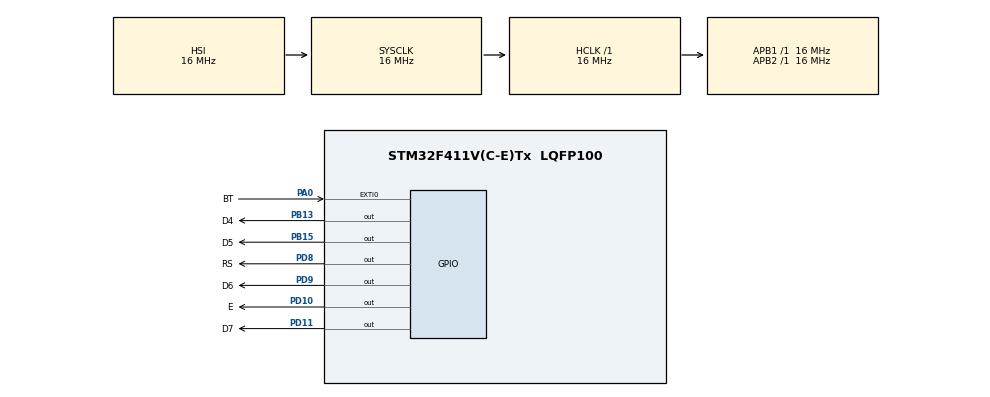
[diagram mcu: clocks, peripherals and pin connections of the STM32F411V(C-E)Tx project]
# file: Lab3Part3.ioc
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Mcu.Family=STM32F4
Mcu.Name=STM32F411V(C-E)Tx
Mcu.Package=LQFP100
NVIC.EXTI0_IRQn=true\:0\:0\:false\:false\:true\:true\:true\:true
NVIC.PriorityGroup=NVIC_PRIORITYGROUP_4
PA0-WKUP.GPIO_Label=BT
PA0-WKUP.Signal=GPXTI0
PB13.GPIO_Label=D4
PB13.Signal=GPIO_Output
PB15.GPIO_Label=D5
PB15.Signal=GPIO_Output
PD10.GPIO_Label=E
PD10.Signal=GPIO_Output
PD11.GPIO_Label=D7
PD11.Signal=GPIO_Output
PD8.GPIO_Label=RS
PD8.Signal=GPIO_Output
PD9.GPIO_Label=D6
PD9.Signal=GPIO_Output
ProjectManager.HeapSize=0x200
ProjectManager.StackSize=0x400
ProjectManager.TargetToolchain=STM32CubeIDE
RCC.AHBFreq_Value=16000000
RCC.APB1Freq_Value=16000000
RCC.APB2Freq_Value=16000000
RCC.CortexFreq_Value=16000000
RCC.HSE_VALUE=25000000
RCC.HSI_VALUE=16000000
RCC.LSE_VALUE=32768
RCC.SYSCLKFreq_VALUE=16000000
RCC.VCOOutputFreq_Value=192000000
board=custom

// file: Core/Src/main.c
/* USER CODE BEGIN Header */
/**
  ******************************************************************************
  * @file           : main.c
  * @brief          : Main program body
  ******************************************************************************
  * @attention
  *
  * Copyright (c) 2026 STMicroelectronics.
  * All rights reserved.
  *
  * This software is licensed under terms that can be found in the LICENSE file
  * in the root directory of this software component.
  * If no LICENSE file comes with this software, it is provided AS-IS.
  *
  ******************************************************************************
  */
/* USER CODE END Header */

#include "main.h"

/* USER CODE BEGIN Includes */
#include <stdio.h>
#include <stdlib.h>
/* USER CODE END Includes */

/* USER CODE BEGIN PV */

int current = 21;
int player_move = 0;
int ai_move = 0;
int ai_turn = 0;

char str[17];

/* USER CODE END PV */

void SystemClock_Config(void);
static void MX_GPIO_Init(void);

/* USER CODE BEGIN 0 */

void LCD_SendNibble(uint8_t nibble, uint8_t rs)
{
    HAL_GPIO_WritePin(
        RS_GPIO_Port,
        RS_Pin,
        rs ? GPIO_PIN_SET : GPIO_PIN_RESET
    );

    HAL_GPIO_WritePin(
        D4_GPIO_Port,
        D4_Pin,
        (nibble & 0x01) ? GPIO_PIN_SET : GPIO_PIN_RESET
    );

    HAL_GPIO_WritePin(
        D5_GPIO_Port,
        D5_Pin,
        (nibble & 0x02) ? GPIO_PIN_SET : GPIO_PIN_RESET
    );

    HAL_GPIO_WritePin(
        D6_GPIO_Port,
        D6_Pin,
        (nibble & 0x04) ? GPIO_PIN_SET : GPIO_PIN_RESET
    );

    HAL_GPIO_WritePin(
        D7_GPIO_Port,
        D7_Pin,
        (nibble & 0x08) ? GPIO_PIN_SET : GPIO_PIN_RESET
    );

    HAL_GPIO_WritePin(E_GPIO_Port, E_Pin, GPIO_PIN_SET);
    HAL_Delay(1);

    HAL_GPIO_WritePin(E_GPIO_Port, E_Pin, GPIO_PIN_RESET);
    HAL_Delay(1);
}

void LCD_SendByte(uint8_t byte, uint8_t rs)
{
    LCD_SendNibble(byte >> 4, rs);
    LCD_SendNibble(byte & 0x0F, rs);
}

void LCD_Init(void)
{
    HAL_Delay(50);

    LCD_SendNibble(0x03, 0);
    HAL_Delay(5);

    LCD_SendNibble(0x03, 0);
    HAL_Delay(1);

    LCD_SendNibble(0x03, 0);
    HAL_Delay(1);

    LCD_SendNibble(0x02, 0);
    HAL_Delay(1);

    LCD_SendByte(0x28, 0);
    HAL_Delay(1);

    LCD_SendByte(0x08, 0);
    HAL_Delay(1);

    LCD_SendByte(0x01, 0);
    HAL_Delay(2);

    LCD_SendByte(0x06, 0);
    HAL_Delay(1);

    LCD_SendByte(0x0C, 0);
    HAL_Delay(1);
}

void LCD_Clear(void)
{
    LCD_SendByte(0x01, 0);
    HAL_Delay(2);
}

void LCD_SetCursor(uint8_t row, uint8_t column)
{
    uint8_t address;

    if (row == 0)
    {
        address = column;
    }
    else
    {
        address = 0x40 + column;
    }

    LCD_SendByte(0x80 | address, 0);
}

void LCD_DisplayString(char *str)
{
    while (*str)
    {
        LCD_SendByte((uint8_t)(*str), 1);
        str++;
    }
}

void DisplayPlayerTurn(void)
{
    LCD_Clear();

    snprintf(
        str,
        sizeof(str),
        "%d Your Turn",
        current
    );

    LCD_SetCursor(0, 0);
    LCD_DisplayString(str);

    LCD_SetCursor(1, 0);
    LCD_DisplayString("Hold Button");
}

void DisplayPlayerChoice(int move)
{
    LCD_Clear();

    LCD_SetCursor(0, 0);
    LCD_DisplayString("PICK 1,2,3:");

    snprintf(
        str,
        sizeof(str),
        "%d",
        move
    );

    LCD_SetCursor(1, 0);
    LCD_DisplayString(str);
}

void DisplayAIState(void)
{
    LCD_Clear();

    snprintf(
        str,
        sizeof(str),
        "Current: %d",
        current
    );

    LCD_SetCursor(0, 0);
    LCD_DisplayString(str);

    LCD_SetCursor(1, 0);
    LCD_DisplayString("AI Turn");

    HAL_Delay(1000);
}

void DisplayAIChoice(int move)
{
    LCD_Clear();

    LCD_SetCursor(0, 0);
    LCD_DisplayString("AI Selected");

    snprintf(
        str,
        sizeof(str),
        "%d",
        move
    );

    LCD_SetCursor(1, 0);
    LCD_DisplayString(str);

    HAL_Delay(1000);
}

void DisplayPlayerLose(void)
{
    LCD_Clear();

    LCD_SetCursor(0, 0);
    LCD_DisplayString("You Lose!");

    LCD_SetCursor(1, 0);
    LCD_DisplayString("Game Over");
}

void DisplayPlayerWin(void)
{
    LCD_Clear();

    LCD_SetCursor(0, 0);
    LCD_DisplayString("You Win!");

    LCD_SetCursor(1, 0);
    LCD_DisplayString("AI Loses");
}

/* USER CODE END 0 */

int main(void)
{

  /* MCU Configuration--------------------------------------------------------*/

  HAL_Init();

  SystemClock_Config();

  MX_GPIO_Init();

  /* USER CODE BEGIN 2 */

  LCD_Init();
  LCD_Clear();

  LCD_SetCursor(0, 0);
  LCD_DisplayString("Game Start");

  LCD_SetCursor(1, 0);
  LCD_DisplayString("Start = 21");

  HAL_Delay(1500);

  /* USER CODE END 2 */

  /* Infinite loop */
  while (1)
  {

    /* USER CODE BEGIN 3 */

    if (ai_turn == 0)
    {
        DisplayPlayerTurn();

        player_move = 0;

        while (HAL_GPIO_ReadPin(BT_GPIO_Port, BT_Pin) == GPIO_PIN_RESET)
        {
        }

        while (HAL_GPIO_ReadPin(BT_GPIO_Port, BT_Pin) == GPIO_PIN_SET)
        {
            player_move++;

            if (player_move > 3)
            {
                player_move = 1;
            }

            DisplayPlayerChoice(player_move);

            HAL_Delay(500);
        }

        if (player_move > 0)
        {
            current = current - player_move;

            if (current <= 0)
            {
                DisplayPlayerLose();
                break;
            }

            ai_turn = 1;
        }
    }
    else
    {
        DisplayAIState();

        srand(HAL_GetTick());

        ai_move = (rand() % 3) + 1;

        DisplayAIChoice(ai_move);

        current = current - ai_move;

        if (current <= 0)
        {
            DisplayPlayerWin();
            break;
        }

        ai_turn = 0;
    }

  }
  /* USER CODE END 3 */
}

void SystemClock_Config(void)
{
  RCC_OscInitTypeDef RCC_OscInitStruct = {0};
  RCC_ClkInitTypeDef RCC_ClkInitStruct = {0};

  __HAL_RCC_PWR_CLK_ENABLE();

  __HAL_PWR_VOLTAGESCALING_CONFIG(PWR_REGULATOR_VOLTAGE_SCALE1);

  RCC_OscInitStruct.OscillatorType = RCC_OSCILLATORTYPE_HSI;
  RCC_OscInitStruct.HSIState = RCC_HSI_ON;
  RCC_OscInitStruct.HSICalibrationValue = RCC_HSICALIBRATION_DEFAULT;
  RCC_OscInitStruct.PLL.PLLState = RCC_PLL_NONE;

  if (HAL_RCC_OscConfig(&RCC_OscInitStruct) != HAL_OK)
  {
    Error_Handler();
  }

  RCC_ClkInitStruct.ClockType =
      RCC_CLOCKTYPE_HCLK |
      RCC_CLOCKTYPE_SYSCLK |
      RCC_CLOCKTYPE_PCLK1 |
      RCC_CLOCKTYPE_PCLK2;

  RCC_ClkInitStruct.SYSCLKSource = RCC_SYSCLKSOURCE_HSI;
  RCC_ClkInitStruct.AHBCLKDivider = RCC_SYSCLK_DIV1;
  RCC_ClkInitStruct.APB1CLKDivider = RCC_HCLK_DIV1;
  RCC_ClkInitStruct.APB2CLKDivider = RCC_HCLK_DIV1;

  if (HAL_RCC_ClockConfig(
          &RCC_ClkInitStruct,
          FLASH_LATENCY_0) != HAL_OK)
  {
    Error_Handler();
  }
}

static void MX_GPIO_Init(void)
{
  GPIO_InitTypeDef GPIO_InitStruct = {0};

  __HAL_RCC_GPIOA_CLK_ENABLE();
  __HAL_RCC_GPIOB_CLK_ENABLE();
  __HAL_RCC_GPIOD_CLK_ENABLE();

  HAL_GPIO_WritePin(
      GPIOB,
      D4_Pin | D5_Pin,
      GPIO_PIN_RESET
  );

  HAL_GPIO_WritePin(
      GPIOD,
      RS_Pin | D6_Pin | E_Pin | D7_Pin,
      GPIO_PIN_RESET
  );

  GPIO_InitStruct.Pin = BT_Pin;
  GPIO_InitStruct.Mode = GPIO_MODE_IT_RISING;
  GPIO_InitStruct.Pull = GPIO_NOPULL;
  HAL_GPIO_Init(BT_GPIO_Port, &GPIO_InitStruct);

  GPIO_InitStruct.Pin = D4_Pin | D5_Pin;
  GPIO_InitStruct.Mode = GPIO_MODE_OUTPUT_PP;
  GPIO_InitStruct.Pull = GPIO_NOPULL;
  GPIO_InitStruct.Speed = GPIO_SPEED_FREQ_LOW;
  HAL_GPIO_Init(GPIOB, &GPIO_InitStruct);

  GPIO_InitStruct.Pin =
      RS_Pin |
      D6_Pin |
      E_Pin |
      D7_Pin;

  GPIO_InitStruct.Mode = GPIO_MODE_OUTPUT_PP;
  GPIO_InitStruct.Pull = GPIO_NOPULL;
  GPIO_InitStruct.Speed = GPIO_SPEED_FREQ_LOW;
  HAL_GPIO_Init(GPIOD, &GPIO_InitStruct);

  HAL_NVIC_SetPriority(EXTI0_IRQn, 0, 0);
  HAL_NVIC_EnableIRQ(EXTI0_IRQn);

}

void Error_Handler(void)
{
  __disable_irq();
  while (1)
  {
  }
}
